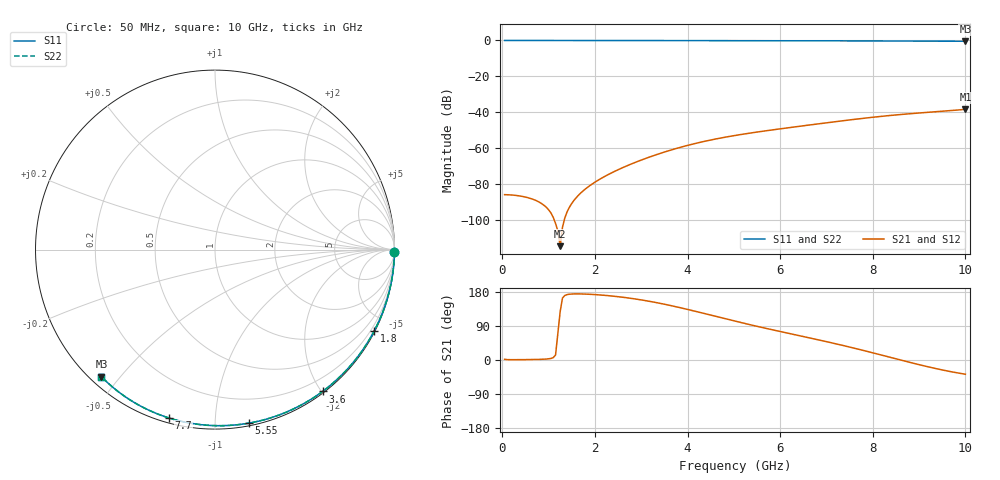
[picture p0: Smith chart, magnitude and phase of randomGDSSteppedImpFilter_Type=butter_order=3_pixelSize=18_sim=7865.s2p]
! freq	dB(S11)	phase(S11)	dB(S12)	phase(S12)
!  dB(S21)	phase(S21)	dB(S22)	phase(S22)
!S-par simulation data
#  GHz  S  DB  R 50
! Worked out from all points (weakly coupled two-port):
!   200 points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, 50 MHz to 10 GHz, reference 50 ohm
!   highest |S21| = -38.45 dB at 10 GHz (marker M1); lowest = -114.9 dB at 1.25 GHz (marker M2)
!   lowest |S11| = -0.4 dB at 10 GHz (marker M3), VSWR 38.75, Z = 1.55 - j22.4 ohm
!   |S11| at or under -10 dB: nowhere
!   |S22| runs from -0.4 to 0.0 dB; largest |S21 - S12| = 0
!   S11 on the Smith chart (normalised r, x): 50 MHz: open; 1.8 GHz: 0.04, -4.16; 3.6 GHz: 0.02, -2.01; 5.55 GHz: 0.02, -1.22; 7.7 GHz: 0.02, -0.76; 10 GHz: 0.03, -0.45
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0.05  -0.00 -0.8  -86.09 1.9  -86.09 1.9  -0.00 -0.8
0.65  -0.01 -9.9  -88.56 1.2  -88.56 1.2  -0.01 -9.9
1.25  -0.02 -18.9  -114.85 127.9  -114.85 127.9  -0.02 -18.9
1.75  -0.03 -26.3  -83.87 174.2  -83.87 174.2  -0.03 -26.3
1.8  -0.03 -27.0  -82.80 173.9  -82.80 173.9  -0.03 -27.0
1.95  -0.04 -29.2  -79.97 173.0  -79.97 173.0  -0.04 -29.2
2.25  -0.04 -33.6  -75.37 170.2  -75.37 170.2  -0.04 -33.6
2.55  -0.05 -37.9  -71.58 166.4  -71.58 166.4  -0.05 -37.9
2.95  -0.06 -43.7  -67.27 159.6  -67.27 159.6  -0.06 -43.7
3.4  -0.07 -50.0  -63.13 149.7  -63.13 149.7  -0.07 -50.0
3.6  -0.07 -52.8  -61.50 144.7  -61.50 144.7  -0.07 -52.8
3.95  -0.08 -57.6  -58.93 135.0  -58.93 135.0  -0.08 -57.6
4.3  -0.09 -62.4  -56.70 124.5  -56.70 124.5  -0.09 -62.4
4.65  -0.10 -67.1  -54.80 113.8  -54.80 113.8  -0.10 -67.1
5.05  -0.11 -72.4  -52.94 101.8  -52.94 101.8  -0.11 -72.4
5.55  -0.13 -78.9  -50.95 87.4  -50.95 87.4  -0.13 -78.9
6.1  -0.15 -85.8  -49.00 72.5  -49.00 72.5  -0.15 -85.8
6.7  -0.18 -93.3  -46.97 56.6  -46.97 56.6  -0.18 -93.3
7.7  -0.24 -105.3  -43.75 28.2  -43.75 28.2  -0.24 -105.3
8.35  -0.29 -112.9  -41.94 7.9  -41.94 7.9  -0.29 -112.9
9.15  -0.36 -122.1  -40.21 -16.7  -40.21 -16.7  -0.36 -122.1
10  -0.45 -131.8  -38.45 -37.5  -38.45 -37.5  -0.45 -131.8
